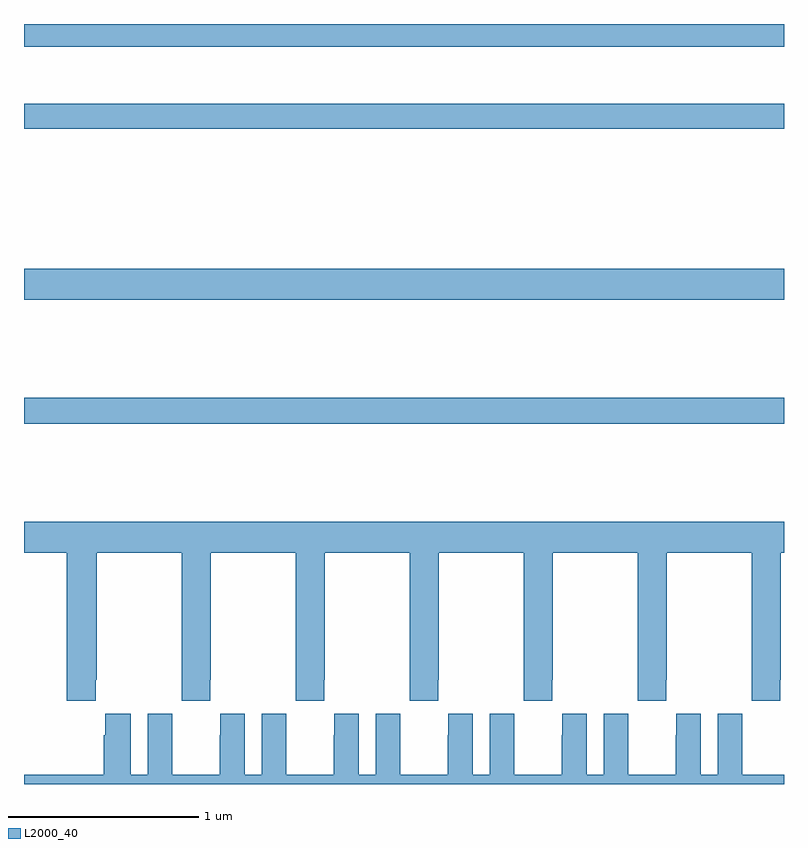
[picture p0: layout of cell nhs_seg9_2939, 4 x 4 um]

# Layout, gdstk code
import gdstk
lib = gdstk.Library(unit=1e-6, precision=1e-09)
def R(c, l, rs):  # rectangles x0, y0, x1, y1
    for r in rs: c.add(gdstk.rectangle(r[:2], r[2:], *l))
def P(c, l, *ps):  # polygons
    for p in ps: c.add(gdstk.Polygon(p, *l))
L2000_40 = (2000, 40)

nhs_seg9_2939 = lib.new_cell('nhs_seg9_2939')
R(nhs_seg9_2939, L2000_40, [(279,1234.396,283,1234.532), (279,1235.048,283,1235.212), (279,1235.95,283,1236.079), (279,1236.38,283,1236.5)])
P(nhs_seg9_2939, L2000_40, [(279.377,1233.049),(279.384,1233.049),(279.384,1233.716),(279.829,1233.716),(279.829,1233.049),(279.831,1233.049),(279.831,1232.937),(279.981,1232.937),(279.981,1233.049),(279.984,1233.049),(279.984,1233.716),(280.429,1233.716),(280.429,1233.049),(280.431,1233.049),(280.431,1232.937),(280.581,1232.937),(280.581,1233.049),(280.584,1233.049),(280.584,1233.716),(281.029,1233.716),(281.029,1233.049),(281.031,1233.049),(281.031,1232.937),(281.181,1232.937),(281.181,1233.049),(281.184,1233.049),(281.184,1233.716),(281.629,1233.716),(281.629,1233.049),(281.631,1233.049),(281.631,1232.937),(281.781,1232.937),(281.781,1233.049),(281.784,1233.049),(281.784,1233.716),(282.229,1233.716),(282.229,1233.049),(282.231,1233.049),(282.231,1232.937),(282.381,1232.937),(282.381,1233.049),(282.384,1233.049),(282.384,1233.716),(282.829,1233.716),(282.829,1233.049),(282.831,1233.049),(282.831,1232.937),(282.981,1232.937),(282.981,1233.049),(282.984,1233.049),(282.984,1233.716),(283,1233.716),(283,1233.88),(279,1233.88),(279,1233.716),(279.224,1233.716),(279.224,1232.937),(279.377,1232.937)],
  [(283,1232.548),(282.781,1232.548),(282.781,1232.756),(282.78,1232.756),(282.78,1232.869),(282.65,1232.869),(282.65,1232.548),(282.562,1232.548),(282.562,1232.869),(282.432,1232.869),(282.432,1232.756),(282.431,1232.756),(282.431,1232.548),(282.181,1232.548),(282.181,1232.756),(282.18,1232.756),(282.18,1232.869),(282.05,1232.869),(282.05,1232.548),(281.962,1232.548),(281.962,1232.869),(281.832,1232.869),(281.832,1232.756),(281.831,1232.756),(281.831,1232.548),(281.581,1232.548),(281.581,1232.756),(281.58,1232.756),(281.58,1232.869),(281.45,1232.869),(281.45,1232.548),(281.362,1232.548),(281.362,1232.869),(281.232,1232.869),(281.232,1232.756),(281.231,1232.756),(281.231,1232.548),(280.981,1232.548),(280.981,1232.756),(280.98,1232.756),(280.98,1232.869),(280.85,1232.869),(280.85,1232.548),(280.762,1232.548),(280.762,1232.869),(280.632,1232.869),(280.632,1232.756),(280.631,1232.756),(280.631,1232.548),(280.381,1232.548),(280.381,1232.756),(280.38,1232.756),(280.38,1232.869),(280.25,1232.869),(280.25,1232.548),(280.162,1232.548),(280.162,1232.869),(280.032,1232.869),(280.032,1232.756),(280.031,1232.756),(280.031,1232.548),(279.781,1232.548),(279.781,1232.756),(279.78,1232.756),(279.78,1232.869),(279.65,1232.869),(279.65,1232.548),(279.562,1232.548),(279.562,1232.869),(279.428,1232.869),(279.428,1232.756),(279.419,1232.756),(279.419,1232.548),(279,1232.548),(279,1232.5),(283,1232.5)])

lib.write_gds('nhs_seg9_2939.gds')
